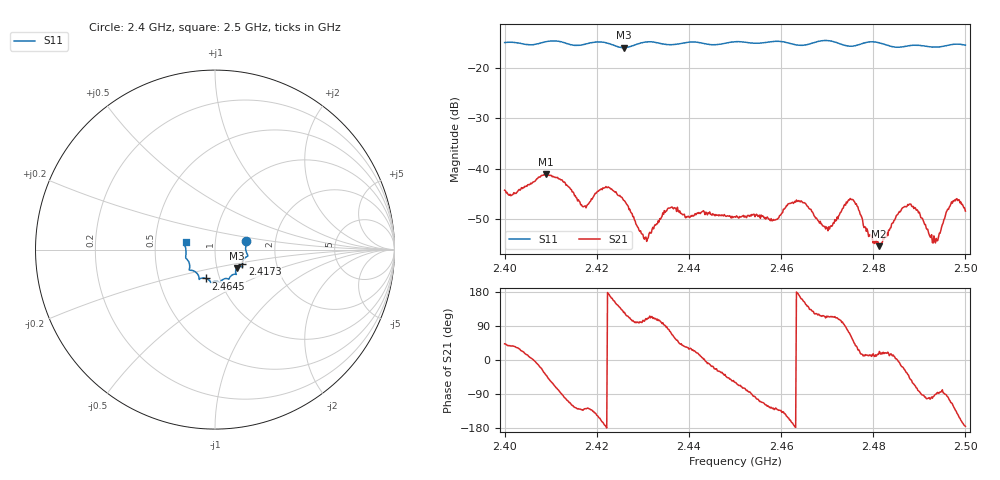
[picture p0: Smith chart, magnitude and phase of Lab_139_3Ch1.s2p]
# Hz S RI R 50
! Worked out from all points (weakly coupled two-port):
!   601 points, 2.4 GHz to 2.5 GHz, reference 50 ohm
!   highest |S21| = -41.04 dB at 2.409 GHz (marker M1); lowest = -55.4 dB at 2.4812 GHz (marker M2)
!   lowest |S11| = -15.9 dB at 2.4258 GHz (marker M3), VSWR 1.38, Z = 62.3 - j13.2 ohm
!   |S11| at or under -10 dB: start of sweep to end of sweep
!   S12 and S22 are empty: the file has one direction only
!   S11 on the Smith chart (normalised r, x): 2.4 GHz: 1.41, +0.14; 2.4173 GHz: 1.34, -0.22; 2.4645 GHz: 0.86, -0.28; 2.5 GHz: 0.72, +0.06
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2.4e9  0.1727 0.049  0.00449 0.00415  0 0  0 0
2.409e9  0.181 -0.0284  0.00677 -0.00574  0 0  0 0
2.412667e9  0.1762 -0.0397  -0.000402 -0.00744  0 0  0 0
2.416667e9  0.1528 -0.0741  -0.0029 -0.00329  0 0  0 0
2.417333e9  0.1519 -0.0815  -0.00267 -0.0033  0 0  0 0
2.422e9  0.1517 -0.095  -0.00663 -0.000491  0 0  0 0
2.425833e9  0.1219 -0.1033  -0.00281 0.00396  0 0  0 0
2.430667e9  0.1186 -0.138  -0.000693 0.00197  0 0  0 0
2.433333e9  0.1132 -0.1372  -0.000733 0.00294  0 0  0 0
2.436e9  0.0944 -0.1425  0.00112 0.00394  0 0  0 0
2.45e9  0.0289 -0.181  0.00171 -0.00286  0 0  0 0
2.4585e9  -0.0206 -0.1833  -0.00202 -0.00234  0 0  0 0
2.4645e9  -0.0517 -0.1604  -0.00447 0.00153  0 0  0 0
2.466667e9  -0.0759 -0.1593  -0.00241 0.00287  0 0  0 0
2.470167e9  -0.0883 -0.1657  -0.00104 0.00218  0 0  0 0
2.4755e9  -0.111 -0.1226  0.0029 0.00401  0 0  0 0
2.481167e9  -0.1429 -0.1082  0.00164 0.000432  0 0  0 0
2.483333e9  -0.1409 -0.0901  0.00234 0.000724  0 0  0 0
2.488e9  -0.1602 -0.0501  0.00285 -0.00341  0 0  0 0
2.493333e9  -0.1612 -0.0103  -8.09e-05 -0.0019  0 0  0 0
2.497167e9  -0.1696 0.0279  -0.00197 -0.00409  0 0  0 0
2.5e9  -0.1638 0.043  -0.00378 -0.00033  0 0  0 0
